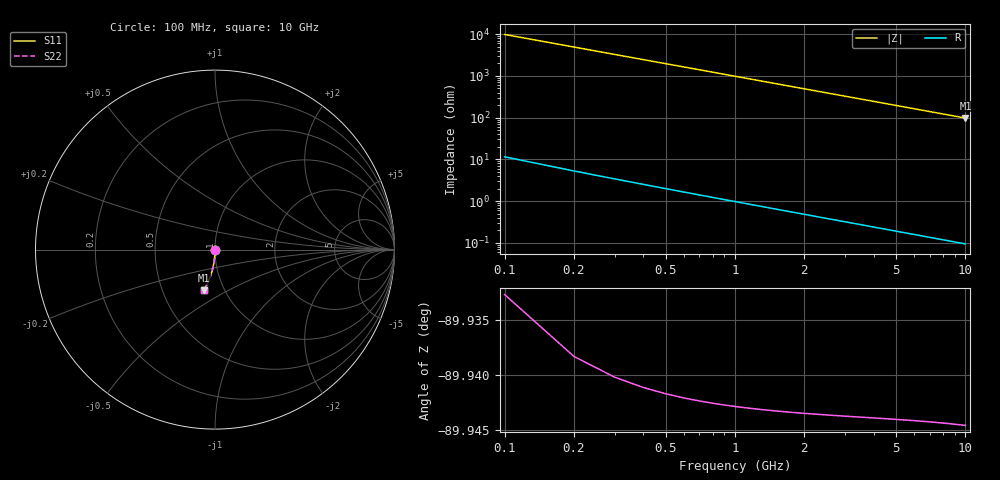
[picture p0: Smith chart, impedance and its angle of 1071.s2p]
# Hz S RI R 50.00
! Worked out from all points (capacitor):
!   100 points, 100 MHz to 10 GHz, reference 50 ohm
!   read as one part in shunt: C = 162 fF near 100 MHz
!   lowest |Z| = 97.8 ohm at 10 GHz (marker M1)
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1e8  5.51e-05 -0.0024  0.9999 -0.00269  0.9999 -0.00269  5.51e-05 -0.0024
2e8  3.36e-05 -0.00481  0.9999 -0.00538  0.9999 -0.00538  3.36e-05 -0.00481
3e8  -8.47e-07 -0.00721  0.9999 -0.00806  0.9999 -0.00806  -8.47e-07 -0.00721
4e8  -4.83e-05 -0.00962  0.9998 -0.0108  0.9998 -0.0108  -4.83e-05 -0.00962
5e8  -0.000109 -0.012  0.9998 -0.0134  0.9998 -0.0134  -0.000109 -0.012
6e8  -0.000182 -0.0144  0.9997 -0.0161  0.9997 -0.0161  -0.000182 -0.0144
7e8  -0.000268 -0.0168  0.9996 -0.0188  0.9996 -0.0188  -0.000268 -0.0168
8e8  -0.000368 -0.0192  0.9995 -0.0215  0.9995 -0.0215  -0.000368 -0.0192
9e8  -0.00048 -0.0216  0.9994 -0.0242  0.9994 -0.0242  -0.00048 -0.0216
1.1e9  -0.000743 -0.0264  0.9991 -0.0296  0.9991 -0.0296  -0.000743 -0.0264
1.4e9  -0.00123 -0.0336  0.9986 -0.0376  0.9986 -0.0376  -0.00123 -0.0336
1.8e9  -0.00207 -0.0432  0.9978 -0.0483  0.9978 -0.0483  -0.00207 -0.0432
2.1e9  -0.00283 -0.0504  0.997 -0.0563  0.997 -0.0563  -0.00283 -0.0504
2.5e9  -0.00403 -0.0599  0.9958 -0.067  0.9958 -0.067  -0.00403 -0.0599
2.9e9  -0.00542 -0.0694  0.9944 -0.0777  0.9944 -0.0777  -0.00542 -0.0694
3.4e9  -0.00745 -0.0812  0.9924 -0.0909  0.9924 -0.0909  -0.00745 -0.0812
4.2e9  -0.0114 -0.1  0.9884 -0.1119  0.9884 -0.1119  -0.0114 -0.1
5.1e9  -0.0167 -0.1208  0.9831 -0.1353  0.9831 -0.1353  -0.0167 -0.1208
5.9e9  -0.0222 -0.139  0.9775 -0.1558  0.9775 -0.1558  -0.0222 -0.139
6.7e9  -0.0285 -0.1568  0.9712 -0.176  0.9712 -0.176  -0.0285 -0.1568
8.4e9  -0.0442 -0.1936  0.9553 -0.2176  0.9553 -0.2176  -0.0442 -0.1936
1e10  -0.0617 -0.2263  0.9377 -0.255  0.9377 -0.255  -0.0617 -0.2263
